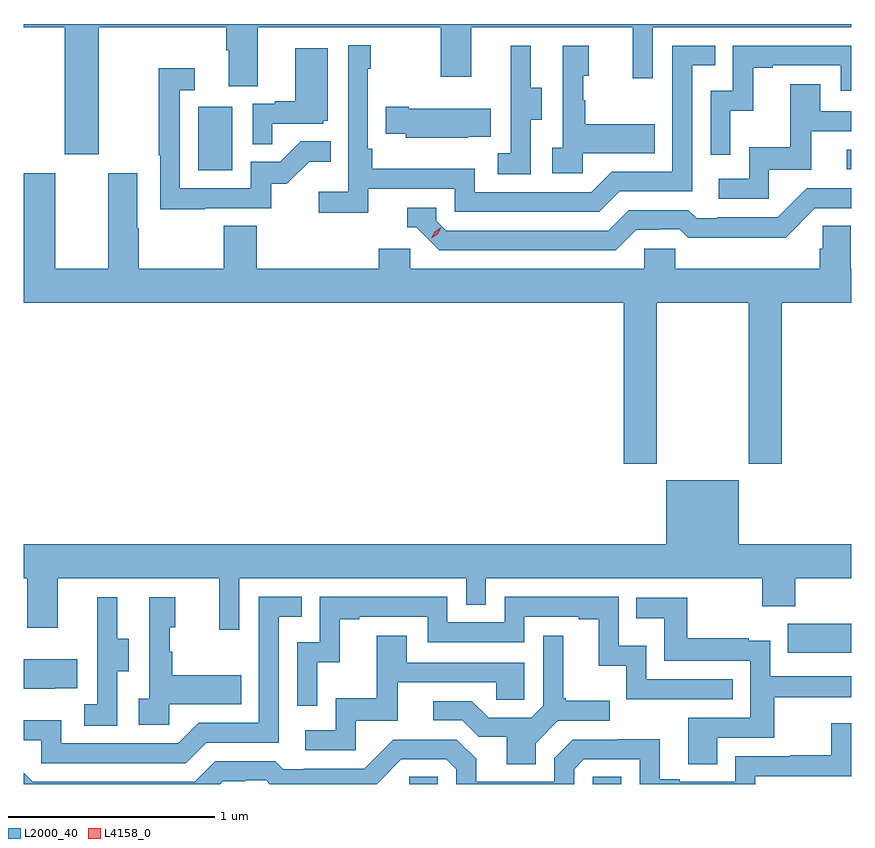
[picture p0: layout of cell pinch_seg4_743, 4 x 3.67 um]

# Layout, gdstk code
import gdstk
lib = gdstk.Library(unit=1e-6, precision=1e-09)
def R(c, l, rs):  # rectangles x0, y0, x1, y1
    for r in rs: c.add(gdstk.rectangle(r[:2], r[2:], *l))
def P(c, l, *ps):  # polygons
    for p in ps: c.add(gdstk.Polygon(p, *l))
L2000_40 = (2000, 40)
L4158_0 = (4158, 0)

pinch_seg4_743 = lib.new_cell('pinch_seg4_743')
R(pinch_seg4_743, L2000_40, [(869.413,829.126,869.55,829.16), (870.3,829.126,870.439,829.16), (868.394,832.092,868.558,832.399), (871.527,832.098,871.55,832.191)])
P(pinch_seg4_743, L2000_40, [(867.913,832.784),(868.529,832.784),(868.529,832.672),(868.541,832.672),(868.541,832.498),(868.681,832.498),(868.681,832.784),(869.566,832.784),(869.566,832.545),(869.713,832.545),(869.713,832.784),(870.494,832.784),(870.494,832.536),(870.591,832.536),(870.591,832.784),(871.55,832.784),(871.55,832.799),(867.55,832.799),(867.55,832.784),(867.749,832.784),(867.749,832.17),(867.913,832.17)],
  [(869.216,832.002),(869.634,832.002),(869.634,831.891),(870.331,831.891),(870.43,831.99),(870.78,831.99),(870.78,832.599),(870.893,832.599),(870.893,832.695),(870.684,832.695),(870.684,832.086),(870.393,832.086),(870.294,831.987),(869.73,831.987),(869.73,832.099),(869.234,832.099),(869.234,832.195),(869.214,832.195),(869.214,832.583),(869.227,832.583),(869.227,832.696),(869.118,832.696),(869.118,831.988),(868.977,831.988),(868.977,831.886),(869.216,831.886)],
  [(870.966,832.379),(871.076,832.379),(871.076,832.587),(871.171,832.587),(871.171,832.599),(871.5,832.599),(871.5,832.476),(871.55,832.476),(871.55,832.695),(870.978,832.695),(870.978,832.476),(870.87,832.476),(870.87,832.167),(870.966,832.167)],
  [(870.252,832.175),(870.599,832.175),(870.599,832.315),(870.265,832.315),(870.265,832.43),(870.255,832.43),(870.255,832.548),(870.28,832.548),(870.28,832.693),(870.156,832.693),(870.156,832.202),(870.105,832.202),(870.105,832.077),(870.252,832.077)],
  [(870,832.336),(870.055,832.336),(870.055,832.491),(870.001,832.491),(870.001,832.693),(869.903,832.693),(869.903,832.479),(869.904,832.479),(869.904,832.175),(869.841,832.175),(869.841,832.072),(870,832.072)],
  [(868.751,832.317),(868.998,832.317),(868.998,832.332),(869.02,832.332),(869.02,832.681),(868.862,832.681),(868.862,832.426),(868.763,832.426),(868.763,832.413),(868.656,832.413),(868.656,832.219),(868.751,832.219)],
  [(868.427,831.909),(868.746,831.909),(868.746,832.026),(868.822,832.026),(868.929,832.133),(869.033,832.133),(869.033,832.232),(868.889,832.232),(868.791,832.134),(868.647,832.134),(868.647,832.005),(868.305,832.005),(868.305,832.479),(868.378,832.479),(868.378,832.585),(868.204,832.585),(868.204,832.165),(868.209,832.165),(868.209,831.904),(868.427,831.904)],
  [(871.152,832.095),(871.357,832.095),(871.357,832.281),(871.55,832.281),(871.55,832.377),(871.399,832.377),(871.399,832.507),(871.255,832.507),(871.255,832.204),(871.056,832.204),(871.056,832.05),(870.909,832.05),(870.909,831.954),(871.152,831.954)],
  [(869.699,832.253),(869.807,832.253),(869.807,832.39),(869.41,832.39),(869.41,832.398),(869.299,832.398),(869.299,832.268),(869.397,832.268),(869.397,832.25),(869.699,832.25)],
  [(870.609,831.452),(871.054,831.452),(871.054,830.673),(871.214,830.673),(871.214,831.452),(871.55,831.452),(871.55,831.616),(871.548,831.616),(871.548,831.824),(871.411,831.824),(871.411,831.714),(871.397,831.714),(871.397,831.616),(870.699,831.616),(870.699,831.714),(870.549,831.714),(870.549,831.616),(869.418,831.616),(869.418,831.714),(869.267,831.714),(869.267,831.616),(868.676,831.616),(868.676,831.824),(868.516,831.824),(868.516,831.616),(868.107,831.616),(868.107,831.812),(868.099,831.812),(868.099,832.078),(867.959,832.078),(867.959,831.616),(867.703,831.616),(867.703,832.078),(867.551,832.078),(867.551,831.616),(867.55,831.616),(867.55,831.452),(870.449,831.452),(870.449,830.673),(870.609,830.673)],
  [(870.511,831.804),(870.618,831.804),(870.618,831.807),(870.721,831.807),(870.763,831.765),(870.996,831.765),(870.996,831.767),(871.232,831.767),(871.374,831.909),(871.55,831.909),(871.55,832.005),(871.335,832.005),(871.194,831.864),(870.901,831.864),(870.901,831.861),(870.802,831.861),(870.763,831.9),(870.474,831.9),(870.375,831.801),(869.592,831.801),(869.544,831.849),(869.544,831.912),(869.405,831.912),(869.405,831.816),(869.448,831.816),(869.559,831.705),(870.412,831.705)],
  [(868.593,830.12),(869.688,830.12),(869.688,829.993),(869.784,829.993),(869.784,830.12),(871.12,830.12),(871.12,829.985),(871.28,829.985),(871.28,830.12),(871.55,830.12),(871.55,830.284),(871.006,830.284),(871.006,830.593),(870.656,830.593),(870.656,830.284),(867.55,830.284),(867.55,830.12),(867.568,830.12),(867.568,829.881),(867.715,829.881),(867.715,830.12),(868.496,830.12),(868.496,829.872),(868.593,829.872)],
  [(868.968,829.715),(869.078,829.715),(869.078,829.923),(869.173,829.923),(869.173,829.935),(869.502,829.935),(869.502,829.812),(869.97,829.812),(869.97,829.935),(870.233,829.935),(870.233,829.923),(870.329,829.923),(870.329,829.697),(870.462,829.697),(870.462,829.536),(870.977,829.536),(870.977,829.632),(870.558,829.632),(870.558,829.795),(870.426,829.795),(870.426,830.031),(869.874,830.031),(869.874,829.908),(869.598,829.908),(869.598,830.031),(868.98,830.031),(868.98,829.812),(868.872,829.812),(868.872,829.503),(868.968,829.503)],
  [(868.432,829.326),(868.782,829.326),(868.782,829.935),(868.895,829.935),(868.895,830.031),(868.686,830.031),(868.686,829.422),(868.395,829.422),(868.296,829.323),(867.732,829.323),(867.732,829.435),(867.55,829.435),(867.55,829.338),(867.636,829.338),(867.636,829.227),(868.333,829.227)],
  [(868.254,829.511),(868.601,829.511),(868.601,829.651),(868.267,829.651),(868.267,829.766),(868.257,829.766),(868.257,829.884),(868.282,829.884),(868.282,830.029),(868.158,830.029),(868.158,829.538),(868.107,829.538),(868.107,829.413),(868.254,829.413)],
  [(868.002,829.672),(868.057,829.672),(868.057,829.827),(868.003,829.827),(868.003,830.029),(867.905,830.029),(867.905,829.815),(867.906,829.815),(867.906,829.511),(867.843,829.511),(867.843,829.408),(868.002,829.408)],
  [(870.901,829.35),(871.178,829.35),(871.178,829.546),(871.55,829.546),(871.55,829.647),(871.158,829.647),(871.158,829.819),(871.055,829.819),(871.055,829.831),(870.757,829.831),(870.757,830.025),(870.511,830.025),(870.511,829.928),(870.646,829.928),(870.646,829.722),(871.062,829.722),(871.062,829.446),(870.761,829.446),(870.761,829.222),(870.901,829.222)],
  [(871.457,829.761),(871.55,829.761),(871.55,829.9),(871.243,829.9),(871.243,829.76),(871.457,829.76)],
  [(870.025,829.324),(870.132,829.431),(870.382,829.431),(870.382,829.528),(870.169,829.528),(870.169,829.54),(870.157,829.54),(870.157,829.843),(870.06,829.843),(870.06,829.503),(870.003,829.446),(869.797,829.446),(869.716,829.527),(869.529,829.527),(869.529,829.434),(869.67,829.434),(869.75,829.354),(869.885,829.354),(869.885,829.222),(870.025,829.222)],
  [(869.154,829.431),(869.359,829.431),(869.359,829.617),(869.833,829.617),(869.833,829.533),(869.97,829.533),(869.97,829.713),(869.401,829.713),(869.401,829.843),(869.257,829.843),(869.257,829.54),(869.058,829.54),(869.058,829.386),(868.911,829.386),(868.911,829.29),(869.154,829.29)],
  [(867.701,829.589),(867.809,829.589),(867.809,829.729),(867.55,829.729),(867.55,829.586),(867.701,829.586)],
  [(868.513,829.14),(868.62,829.14),(868.62,829.143),(868.723,829.143),(868.74,829.126),(869.257,829.126),(869.376,829.245),(869.592,829.245),(869.64,829.197),(869.64,829.126),(870.21,829.126),(870.21,829.197),(870.258,829.245),(870.528,829.245),(870.528,829.126),(871.086,829.126),(871.086,829.164),(871.55,829.164),(871.55,829.42),(871.452,829.42),(871.452,829.265),(871.255,829.265),(871.255,829.26),(870.99,829.26),(870.99,829.137),(870.721,829.137),(870.721,829.15),(870.625,829.15),(870.625,829.343),(870.42,829.343),(870.42,829.341),(870.204,829.341),(870.114,829.251),(870.114,829.137),(869.737,829.137),(869.737,829.247),(869.643,829.341),(869.337,829.341),(869.196,829.2),(868.903,829.2),(868.903,829.197),(868.804,829.197),(868.765,829.236),(868.476,829.236),(868.377,829.137),(867.594,829.137),(867.55,829.181),(867.55,829.126),(868.499,829.126)])
P(pinch_seg4_743, L4158_0, [(869.521,831.763),(869.521,831.763),(869.536,831.796),(869.567,831.816),(869.567,831.816),(869.567,831.816),(869.551,831.783),(869.521,831.763)])

lib.write_gds('pinch_seg4_743.gds')
